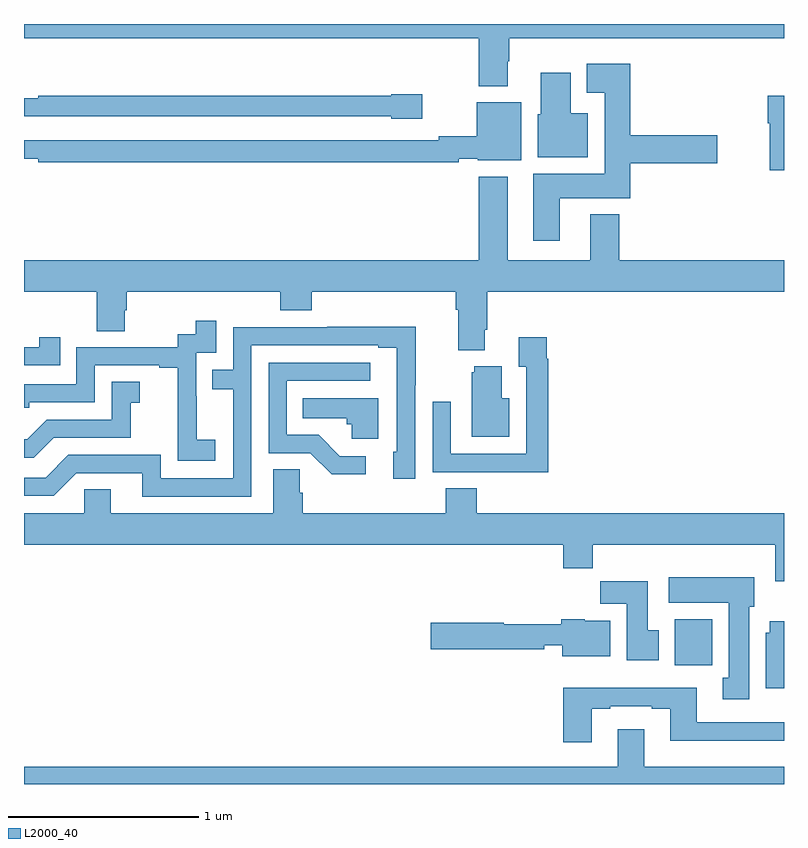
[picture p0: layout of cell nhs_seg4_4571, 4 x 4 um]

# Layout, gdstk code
import gdstk
lib = gdstk.Library(unit=1e-6, precision=1e-09)
def R(c, l, rs):  # rectangles x0, y0, x1, y1
    for r in rs: c.add(gdstk.rectangle(r[:2], r[2:], *l))
def P(c, l, *ps):  # polygons
    for p in ps: c.add(gdstk.Polygon(p, *l))
L2000_40 = (2000, 40)

nhs_seg4_4571 = lib.new_cell('nhs_seg4_4571')
R(nhs_seg4_4571, L2000_40, [(360.425,789.524,360.622,789.766)])
P(nhs_seg4_4571, L2000_40, [(357,792.824),(359.393,792.824),(359.393,792.572),(359.545,792.572),(359.545,792.704),(359.553,792.704),(359.553,792.824),(361,792.824),(361,792.9),(357,792.9)],
  [(359.821,791.984),(360.191,791.984),(360.191,792.167),(360.649,792.167),(360.649,792.314),(360.191,792.314),(360.191,792.691),(359.963,792.691),(359.963,792.539),(360.056,792.539),(360.056,792.112),(359.681,792.112),(359.681,791.76),(359.821,791.76)],
  [(359.968,792.43),(359.878,792.43),(359.878,792.643),(359.72,792.643),(359.72,792.426),(359.705,792.426),(359.705,792.2),(359.968,792.2)],
  [(359.095,792.531),(358.932,792.531),(358.932,792.523),(357.076,792.523),(357.076,792.51),(357,792.51),(357,792.414),(358.932,792.414),(358.932,792.401),(359.095,792.401)],
  [(361,792.523),(360.914,792.523),(360.914,792.377),(360.926,792.377),(360.926,792.129),(361,792.129)],
  [(359.288,792.192),(359.388,792.192),(359.388,792.182),(359.617,792.182),(359.617,792.487),(359.384,792.487),(359.384,792.308),(359.182,792.308),(359.182,792.288),(357,792.288),(357,792.191),(357.076,792.191),(357.076,792.172),(359.288,792.172)],
  [(359.425,791.29),(359.438,791.29),(359.438,791.492),(361,791.492),(361,791.656),(360.134,791.656),(360.134,791.899),(359.981,791.899),(359.981,791.656),(359.545,791.656),(359.545,792.097),(359.393,792.097),(359.393,791.656),(357,791.656),(357,791.492),(357.382,791.492),(357.382,791.284),(357.529,791.284),(357.529,791.394),(357.542,791.394),(357.542,791.492),(358.349,791.492),(358.349,791.393),(358.514,791.393),(358.514,791.492),(359.273,791.492),(359.273,791.396),(359.285,791.396),(359.285,791.183),(359.425,791.183)],
  [(358.006,790.711),(357.908,790.711),(357.908,790.94),(357.906,790.94),(357.906,791.169),(358.011,791.169),(358.011,791.338),(357.903,791.338),(357.903,791.268),(357.81,791.268),(357.81,791.199),(357.276,791.199),(357.276,791.004),(357,791.004),(357,790.881),(357.027,790.881),(357.027,790.908),(357.372,790.908),(357.372,791.103),(357.713,791.103),(357.713,791.091),(357.809,791.091),(357.809,790.807),(357.808,790.807),(357.808,790.601),(358.006,790.601)],
  [(358.197,791.208),(358.865,791.208),(358.865,791.196),(358.962,791.196),(358.962,790.65),(358.943,790.65),(358.943,790.506),(359.058,790.506),(359.058,790.999),(359.061,790.999),(359.061,791.306),(358.597,791.306),(358.597,791.304),(358.101,791.304),(358.101,791.079),(357.991,791.079),(357.991,790.978),(358.101,790.978),(358.101,790.509),(357.72,790.509),(357.72,790.632),(357.234,790.632),(357.114,790.512),(357,790.512),(357,790.416),(357.156,790.416),(357.276,790.536),(357.623,790.536),(357.623,790.413),(358.197,790.413)],
  [(359.759,791.138),(359.752,791.138),(359.752,791.251),(359.603,791.251),(359.603,791.095),(359.643,791.095),(359.643,790.638),(359.247,790.638),(359.247,790.912),(359.151,790.912),(359.151,790.542),(359.467,790.542),(359.467,790.541),(359.759,790.541)],
  [(357.191,791.251),(357.08,791.251),(357.08,791.199),(357,791.199),(357,791.103),(357.191,791.103)],
  [(358.798,790.626),(358.663,790.626),(358.552,790.737),(358.383,790.737),(358.383,791.022),(358.822,791.022),(358.822,791.118),(358.287,791.118),(358.287,790.641),(358.506,790.641),(358.619,790.529),(358.798,790.529)],
  [(359.554,790.93),(359.515,790.93),(359.515,791.098),(359.369,791.098),(359.369,791.067),(359.357,791.067),(359.357,790.727),(359.554,790.727)],
  [(357.157,790.722),(357.561,790.722),(357.561,790.907),(357.61,790.907),(357.61,791.017),(357.462,791.017),(357.462,790.818),(357.12,790.818),(357.016,790.714),(357,790.714),(357,790.617),(357.052,790.617)],
  [(358.864,790.93),(358.468,790.93),(358.468,790.826),(358.699,790.826),(358.699,790.794),(358.725,790.794),(358.725,790.718),(358.864,790.718)],
  [(361,790.324),(359.384,790.324),(359.384,790.457),(359.219,790.457),(359.219,790.324),(358.466,790.324),(358.466,790.433),(358.452,790.433),(358.452,790.556),(358.313,790.556),(358.313,790.324),(357.457,790.324),(357.457,790.451),(357.318,790.451),(357.318,790.324),(357,790.324),(357,790.16),(359.837,790.16),(359.837,790.036),(359.993,790.036),(359.993,790.16),(360.953,790.16),(360.953,789.966),(361,789.966)],
  [(360.817,789.834),(360.844,789.834),(360.844,789.988),(360.393,789.988),(360.393,789.854),(360.71,789.854),(360.71,789.458),(360.677,789.458),(360.677,789.345),(360.817,789.345)],
  [(360.34,789.708),(360.283,789.708),(360.283,789.967),(360.034,789.967),(360.034,789.848),(360.173,789.848),(360.173,789.552),(360.34,789.552)],
  [(360.085,789.76),(359.952,789.76),(359.952,789.766),(359.827,789.766),(359.827,789.742),(359.526,789.742),(359.526,789.75),(359.142,789.75),(359.142,789.608),(359.738,789.608),(359.738,789.631),(359.834,789.631),(359.834,789.572),(360.085,789.572)],
  [(361,789.757),(360.926,789.757),(360.926,789.696),(360.905,789.696),(360.905,789.404),(361,789.404)],
  [(359.989,789.297),(360.085,789.297),(360.085,789.309),(360.305,789.309),(360.305,789.297),(360.401,789.297),(360.401,789.128),(361,789.128),(361,789.225),(360.541,789.225),(360.541,789.406),(359.837,789.406),(359.837,789.12),(359.989,789.12)],
  [(361,788.992),(360.265,788.992),(360.265,789.187),(360.125,789.187),(360.125,788.992),(357,788.992),(357,788.9),(361,788.9)])

lib.write_gds('nhs_seg4_4571.gds')
